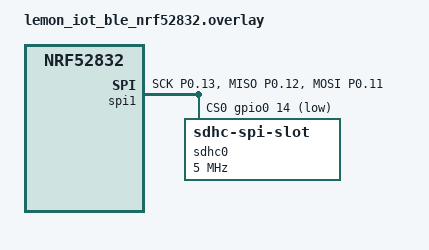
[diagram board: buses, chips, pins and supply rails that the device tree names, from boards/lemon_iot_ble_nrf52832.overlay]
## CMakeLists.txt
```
# SPDX-License-Identifier: Apache-2.0

cmake_minimum_required(VERSION 3.20.0)

find_package(Zephyr REQUIRED HINTS $ENV{ZEPHYR_BASE})
project(SDCard)

FILE(GLOB app_sources src/*.c)
target_sources(app PRIVATE ${app_sources})
```

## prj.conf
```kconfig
CONFIG_CONSOLE=y

CONFIG_DISK_ACCESS=y
CONFIG_LOG=y
CONFIG_FILE_SYSTEM=y
CONFIG_FAT_FILESYSTEM_ELM=y
CONFIG_PRINTK=y
CONFIG_MAIN_STACK_SIZE=2048
```

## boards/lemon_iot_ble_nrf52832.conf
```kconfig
CONFIG_SPI=y
CONFIG_DISK_DRIVER_SDMMC=y
```

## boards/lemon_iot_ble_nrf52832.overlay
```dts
&pinctrl {
	spi1_default: spi1_default {
		group1 {
			psels = <NRF_PSEL(SPIM_SCK, 0, 13)>,
				<NRF_PSEL(SPIM_MISO, 0, 12)>,
				<NRF_PSEL(SPIM_MOSI, 0, 11)>;
                        bias-pull-up;
		};
	};

	spi1_sleep: spi1_sleep {
		group1 {
			psels = <NRF_PSEL(SPIM_SCK, 0, 13)>,
				<NRF_PSEL(SPIM_MISO, 0, 12)>,
				<NRF_PSEL(SPIM_MOSI, 0, 11)>;
			low-power-enable;
		};
	};
};

&spi1 {
	compatible = "nordic,nrf-spi";
	status = "okay";
	cs-gpios = <&gpio0 14 GPIO_ACTIVE_LOW>;
	pinctrl-0 = <&spi1_default>;
	pinctrl-1 = <&spi1_sleep>;
	pinctrl-names = "default", "sleep";
	sdhc0: sdhc@0 {
		compatible = "zephyr,sdhc-spi-slot";
		reg = <0>;
		status = "okay";
		mmc {
			compatible = "zephyr,sdmmc-disk";
			status = "okay";
		};
		spi-max-frequency = <5000000>;
	};
};
```

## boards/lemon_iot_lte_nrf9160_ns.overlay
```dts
&pinctrl {
	spi1_default: spi1_default {
		group1 {
			psels = <NRF_PSEL(SPIM_SCK, 0, 13)>,
				<NRF_PSEL(SPIM_MISO, 0, 12)>,
				<NRF_PSEL(SPIM_MOSI, 0, 11)>;
                        bias-pull-up;
		};
	};

	spi1_sleep: spi1_sleep {
		group1 {
			psels = <NRF_PSEL(SPIM_SCK, 0, 13)>,
				<NRF_PSEL(SPIM_MISO, 0, 12)>,
				<NRF_PSEL(SPIM_MOSI, 0, 11)>;
			low-power-enable;
		};
	};
};

&spi1 {
	compatible = "nordic,nrf-spim";
	status = "okay";
	cs-gpios = <&gpio0 14 GPIO_ACTIVE_LOW>;
	pinctrl-0 = <&spi1_default>;
	pinctrl-1 = <&spi1_sleep>;
	pinctrl-names = "default", "sleep";
	sdhc0: sdhc@0 {
		compatible = "zephyr,sdhc-spi-slot";
		reg = <0>;
		status = "okay";
		mmc {
			compatible = "zephyr,sdmmc-disk";
			status = "okay";
		};
		spi-max-frequency = <5000000>;
	};
};
```

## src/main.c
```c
/*
 * Copyright (c) 2023 Craig Peacock
 * Copyright (c) 2019 Tavish Naruka <tavishnaruka@gmail.com>
 *
 * SPDX-License-Identifier: Apache-2.0
 */

#include <zephyr/kernel.h>
#include <zephyr/device.h>
#include <zephyr/storage/disk_access.h>
#include <zephyr/logging/log.h>
#include <zephyr/fs/fs.h>
#include <ff.h>

#define BUFFER_SIZE 100

LOG_MODULE_REGISTER(SDCard);

static FATFS fat_fs;

static struct fs_mount_t mp = {
	.type = FS_FATFS,
	.mnt_point = "/SD:",
	.fs_data = &fat_fs,
};

void mount_disk(void)
{
	static const char *disk_pdrv = "SD";
	uint64_t memory_size_mb;
	uint32_t block_count;
	uint32_t block_size;
	int ret;

	if (disk_access_init(disk_pdrv) != 0) {
		LOG_ERR("Error initialising disk.\n");
		return;
	}

#ifdef PRINT_STATS
	// The following calls are not mandatory. Used to display disk statistics.

	if (disk_access_ioctl(disk_pdrv, DISK_IOCTL_GET_SECTOR_COUNT, &block_count)) {
		LOG_ERR("Unable to get sector count");
		return;
	}
	LOG_INF("Block count %u", block_count);

	if (disk_access_ioctl(disk_pdrv, DISK_IOCTL_GET_SECTOR_SIZE, &block_size)) {
		LOG_ERR("Unable to get sector size");
		return;
	}

	memory_size_mb = (uint64_t)block_count * block_size;
	printk("Sector Size: %u bytes\n", block_size);
	printk("SD Card Size: %u megabytes\n", (uint32_t)(memory_size_mb >> 20));

#endif 

	ret = fs_mount(&mp);
	if (ret != FR_OK) {
		LOG_ERR("Error mounting disk.\n");
		return;
	}

	printk("Disk mounted.\n");
}

void read_file(void)
{
	int ret;
	struct fs_file_t file;
	char buffer[BUFFER_SIZE];
	ssize_t bytes_read;

	// Initialise file structure. Needs to be called before first use with fs_open().
	fs_file_t_init(&file);

	// Open file for read.
	ret = fs_open(&file, "/SD:/file.txt", FS_O_READ);
	if (ret != 0) {
		printk("fs_open() failed: ");
		switch (ret) {
			case -EINVAL:
				printk("invalid filename\n");
				break;
			case -ENOENT:
				printk("bad mount point\n");
				break;
			default:
				printk("(%d)", ret);
				break;
		}
		return;
	}

	// Move to start of file.
	ret = fs_seek(&file, 0, FS_SEEK_SET);
	if (ret != 0) {
		LOG_ERR("fs_seek failed (%d)\n", ret);
		return;
	}

	bytes_read = fs_read(&file, buffer, BUFFER_SIZE);
	if (bytes_read >= 0) {
		printk("Read %d bytes.\n", bytes_read);
		buffer[bytes_read] = 0;	// Null terminate string.
		printk("File contents = %s\n",buffer);
	} else {
		LOG_ERR("fs_read failed (%d)\n",bytes_read);
	}

	ret = fs_close(&file);
	if (ret != 0) {
		LOG_ERR("fs_close failed (%d)\n", ret);
		return;
	}
}

void write_file(void)
{
	int ret;
	struct fs_file_t file;
	char buffer[BUFFER_SIZE];
	ssize_t bytes_written;

	// Initialise file structure. Needs to be called before first use with fs_open().
	fs_file_t_init(&file);

	// Open file for write. Create file if it doesn't exist.
	// Valid flags:
	// FS_O_WRITE  - Open for write
	// FS_O_RDWR   - Open for read/write (FS_O_READ | FS_O_WRITE)
	// FS_O_CREATE - Create file if it does not exist
	// FS_O_APPEND - Move to end of file before each write
	ret = fs_open(&file, "/SD:/file.txt", FS_O_WRITE | FS_O_CREATE);
	if (ret != 0) {
		printk("fs_open() failed: ");
		switch (ret) {
			case -EINVAL:
				printk("invalid filename\n");
				break;
			case -ENOENT:
				printk("bad mount point\n");
				break;
			case -EROFS:
				printk("read-only\n");
				break;
			default:
				printk("(%d)", ret);
				break;
		}
	}

	// Move to start of file.
	ret = fs_seek(&file, 0, FS_SEEK_SET);
	if (ret != 0) {
		LOG_ERR("fs_seek failed (%d)\n", ret);
		return;
	}

	sprintf(buffer, "This is a write example");

	bytes_written = fs_write(&file, buffer, strlen(buffer));
	if (bytes_written >= 0) {
		printk("Wrote %d bytes.\n", bytes_written);
	} else {
		LOG_ERR("fs_read failed (%d)\n",bytes_written);
	}

	ret = fs_close(&file);
	if (ret != 0) {
		LOG_ERR("fs_close failed (%d)\n", ret);
		return;
	}
}

void main(void)
{
	printk("SD Card / FAT32 Example\nBoard: %s\n", CONFIG_BOARD);
	mount_disk();
	write_file();
	read_file();
}
```
